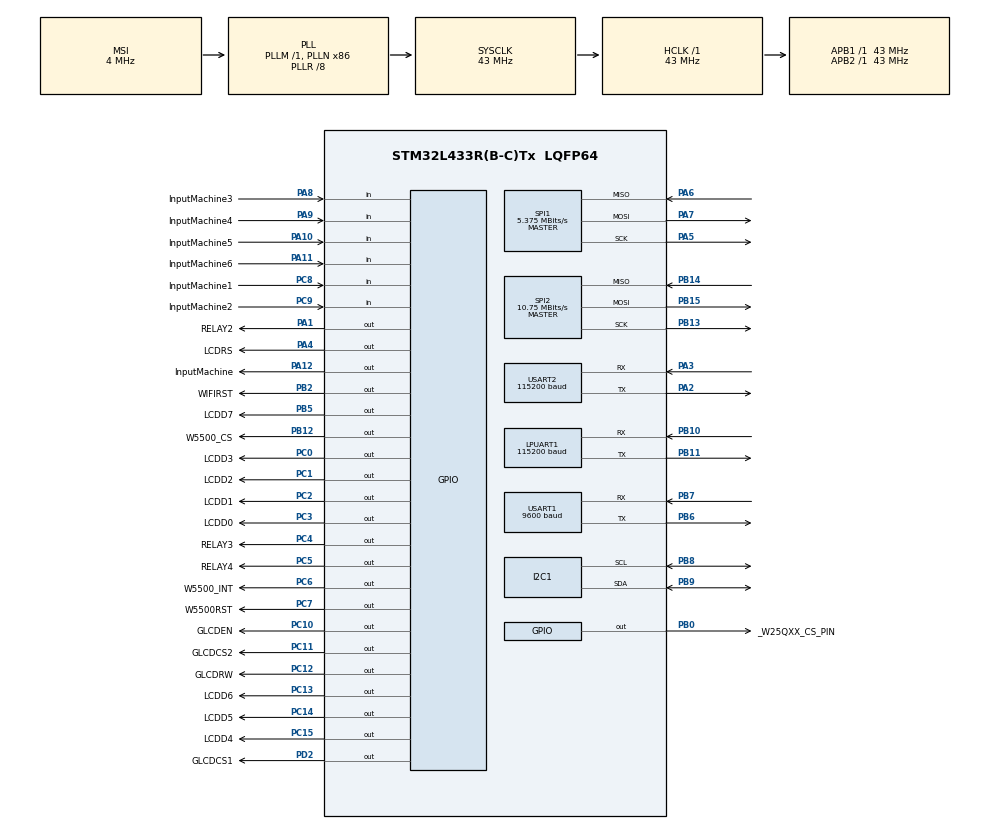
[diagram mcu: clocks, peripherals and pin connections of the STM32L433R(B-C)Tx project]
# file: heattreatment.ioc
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I2C1.Timing=0x00A0A7FD
LPUART1.BaudRate=115200
LPUART1.WordLength=UART_WORDLENGTH_8B
Mcu.Family=STM32L4
Mcu.Name=STM32L433R(B-C)Tx
Mcu.Package=LQFP64
NVIC.LPUART1_IRQn=true\:0\:0\:false\:false\:true\:true\:true\:true
NVIC.PriorityGroup=NVIC_PRIORITYGROUP_4
NVIC.TIM6_DAC_IRQn=true\:0\:0\:false\:false\:true\:true\:true\:true
NVIC.TIM7_IRQn=true\:0\:0\:false\:false\:true\:true\:true\:true
NVIC.USART1_IRQn=true\:0\:0\:false\:false\:true\:true\:true\:true
NVIC.USART2_IRQn=true\:0\:0\:false\:false\:true\:true\:true\:true
PA1.GPIO_Label=RELAY2
PA1.Signal=GPIO_Output
PA10.GPIO_Label=InputMachine5
PA10.Signal=GPIO_Input
PA11.GPIO_Label=InputMachine6
PA11.Signal=GPIO_Input
PA12.GPIO_Label=InputMachine
PA12.PinState=GPIO_PIN_SET
PA12.Signal=GPIO_Output
PA2.Mode=Asynchronous
PA2.Signal=USART2_TX
PA3.Mode=Asynchronous
PA3.Signal=USART2_RX
PA4.GPIO_Label=LCDRS
PA4.GPIO_PuPd=GPIO_PULLUP
PA4.Signal=GPIO_Output
PA5.Mode=Full_Duplex_Master
PA5.Signal=SPI1_SCK
PA6.Mode=Full_Duplex_Master
PA6.Signal=SPI1_MISO
PA7.Mode=Full_Duplex_Master
PA7.Signal=SPI1_MOSI
PA8.GPIO_Label=InputMachine3
PA8.Signal=GPIO_Input
PA9.GPIO_Label=InputMachine4
PA9.Signal=GPIO_Input
PB0.GPIO_Label=_W25QXX_CS_PIN
PB0.Signal=GPIO_Output
PB10.Mode=Asynchronous
PB10.Signal=LPUART1_RX
PB11.Mode=Asynchronous
PB11.Signal=LPUART1_TX
PB12.GPIO_Label=W5500_CS
PB12.GPIO_Speed=GPIO_SPEED_FREQ_HIGH
PB12.PinState=GPIO_PIN_SET
PB12.Signal=GPIO_Output
PB13.Mode=Full_Duplex_Master
PB13.Signal=SPI2_SCK
PB14.Mode=Full_Duplex_Master
PB14.Signal=SPI2_MISO
PB15.Mode=Full_Duplex_Master
PB15.Signal=SPI2_MOSI
PB2.GPIO_Label=WIFIRST
PB2.Signal=GPIO_Output
PB5.GPIO_Label=LCDD7
PB5.Signal=GPIO_Output
PB6.Mode=Asynchronous
PB6.Signal=USART1_TX
PB7.Mode=Asynchronous
PB7.Signal=USART1_RX
PB8.Mode=I2C
PB8.Signal=I2C1_SCL
PB9.Mode=I2C
PB9.Signal=I2C1_SDA
PC0.GPIO_Label=LCDD3
PC0.GPIO_PuPd=GPIO_NOPULL
PC0.Signal=GPIO_Output
PC1.GPIO_Label=LCDD2
PC1.GPIO_PuPd=GPIO_NOPULL
PC1.Signal=GPIO_Output
PC10.GPIO_Label=GLCDEN
PC10.GPIO_PuPd=GPIO_PULLUP
PC10.Signal=GPIO_Output
PC11.GPIO_Label=GLCDCS2
PC11.GPIO_PuPd=GPIO_PULLUP
PC11.Signal=GPIO_Output
PC12.GPIO_Label=GLCDRW
PC12.GPIO_PuPd=GPIO_PULLUP
PC12.Signal=GPIO_Output
PC13.GPIO_Label=LCDD6
PC13.GPIO_PuPd=GPIO_NOPULL
PC13.Signal=GPIO_Output
PC14-OSC32_IN\ (PC14).GPIO_Label=LCDD5
PC14-OSC32_IN\ (PC14).GPIO_PuPd=GPIO_NOPULL
PC14-OSC32_IN\ (PC14).Signal=GPIO_Output
PC15-OSC32_OUT\ (PC15).GPIO_Label=LCDD4
PC15-OSC32_OUT\ (PC15).GPIO_PuPd=GPIO_NOPULL
PC15-OSC32_OUT\ (PC15).Signal=GPIO_Output
PC2.GPIO_Label=LCDD1
PC2.GPIO_PuPd=GPIO_NOPULL
PC2.Signal=GPIO_Output
PC3.GPIO_Label=LCDD0
PC3.GPIO_PuPd=GPIO_NOPULL
PC3.Signal=GPIO_Output
PC4.GPIO_Label=RELAY3
PC4.Signal=GPIO_Output
PC5.GPIO_Label=RELAY4
PC5.Signal=GPIO_Output
PC6.GPIO_Label=W5500_INT
PC6.Signal=GPIO_Output
PC7.GPIO_Label=W5500RST
PC7.PinState=GPIO_PIN_SET
PC7.Signal=GPIO_Output
PC8.GPIO_Label=InputMachine1
PC8.Signal=GPIO_Input
PC9.GPIO_Label=InputMachine2
PC9.Signal=GPIO_Input
PD2.GPIO_Label=GLCDCS1
PD2.GPIO_PuPd=GPIO_PULLUP
PD2.Signal=GPIO_Output
ProjectManager.HeapSize=0x200
ProjectManager.StackSize=0x400
ProjectManager.TargetToolchain=STM32CubeIDE
RCC.AHBFreq_Value=43000000
RCC.APB1Freq_Value=43000000
RCC.APB1TimFreq_Value=43000000
RCC.APB2Freq_Value=43000000
RCC.APB2TimFreq_Value=43000000
RCC.CortexFreq_Value=43000000
RCC.HCLKFreq_Value=43000000
RCC.HSE_VALUE=8000000
RCC.HSI48_VALUE=48000000
RCC.HSI_VALUE=16000000
RCC.LSE_VALUE=32768
RCC.MSI_VALUE=4000000
RCC.PLLN=86
RCC.PLLR=RCC_PLLR_DIV8
RCC.SYSCLKFreq_VALUE=43000000
RCC.SYSCLKSource=RCC_SYSCLKSOURCE_PLLCLK
RCC.VCOOutputFreq_Value=344000000
SPI1.BaudRatePrescaler=SPI_BAUDRATEPRESCALER_8
SPI1.CalculateBaudRate=5.375 MBits/s
SPI1.DataSize=SPI_DATASIZE_8BIT
SPI1.Direction=SPI_DIRECTION_2LINES
SPI1.Mode=SPI_MODE_MASTER
SPI1.VirtualType=VM_MASTER
SPI2.BaudRatePrescaler=SPI_BAUDRATEPRESCALER_4
SPI2.CalculateBaudRate=10.75 MBits/s
SPI2.DataSize=SPI_DATASIZE_8BIT
SPI2.Direction=SPI_DIRECTION_2LINES
SPI2.Mode=SPI_MODE_MASTER
SPI2.VirtualType=VM_MASTER
TIM6.Period=100
TIM6.Prescaler=43000-1
TIM7.Period=1000
TIM7.Prescaler=43000-1
USART1.BaudRate=9600
USART1.VirtualMode-Asynchronous=VM_ASYNC
USART2.BaudRate=115200
USART2.VirtualMode-Asynchronous=VM_ASYNC
VP_TIM1_VS_ClockSourceINT.Mode=Internal
VP_TIM6_VS_ClockSourceINT.Mode=Enable_Timer
VP_TIM7_VS_ClockSourceINT.Mode=Enable_Timer
board=custom

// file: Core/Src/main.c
/* USER CODE BEGIN Header */
/**
  ******************************************************************************
  * @file           : main.c
  * @brief          : Main program body
  ******************************************************************************
  * @attention
  *
  * Copyright (c) 2022 STMicroelectronics.
  * All rights reserved.
  *
  * This software is licensed under terms that can be found in the LICENSE file
  * in the root directory of this software component.
  * If no LICENSE file comes with this software, it is provided AS-IS.
  *
  ******************************************************************************
  */
/* USER CODE END Header */
#include "main.h"

/* USER CODE BEGIN Includes */
#include "w5500_spi.h"
#include "w25qxx.h"
#include "ds1307.h"
/* USER CODE END Includes */

I2C_HandleTypeDef hi2c1;

UART_HandleTypeDef hlpuart1;
UART_HandleTypeDef huart1;
UART_HandleTypeDef huart2;

SPI_HandleTypeDef hspi1;
SPI_HandleTypeDef hspi2;

TIM_HandleTypeDef htim1;
TIM_HandleTypeDef htim6;
TIM_HandleTypeDef htim7;

/* USER CODE BEGIN PV */

uint8_t tmpstr[6];
uint8_t test_aa;
uint8_t tmp;
/* USER CODE END PV */

void SystemClock_Config(void);
static void MX_GPIO_Init(void);
static void MX_USART2_UART_Init(void);
static void MX_I2C1_Init(void);
static void MX_USART1_UART_Init(void);
static void MX_TIM6_Init(void);
static void MX_SPI2_Init(void);
static void MX_TIM1_Init(void);
static void MX_LPUART1_UART_Init(void);
static void MX_SPI1_Init(void);
static void MX_TIM7_Init(void);

/* USER CODE BEGIN 0 */
extern void displayon(void);
extern void setstartline(unsigned char z);
extern void clrlcd();
extern void lcdputs1(unsigned char y,unsigned char x,unsigned char *str);
unsigned char data[250];
unsigned int i;
unsigned char Txcomplete;
uint8_t rxTempBuff[5];
uint8_t check_w,check_r;
uint8_t testvariable[8]={1,2,3,4,5,6,7,8};
uint8_t testvariable1[8];

extern uint8_t u8rxbuf[16];
extern uint8_t u8rxdwinbuf[3];

/* USER CODE END 0 */

int main(void)
{

  /* MCU Configuration--------------------------------------------------------*/

  /* Reset of all peripherals, Initializes the Flash interface and the Systick. */
  HAL_Init();

  /* Configure the system clock */
  SystemClock_Config();

  /* Initialize all configured peripherals */
  MX_GPIO_Init();
  MX_USART2_UART_Init();
  MX_I2C1_Init();
  MX_USART1_UART_Init();
  MX_TIM6_Init();
  MX_SPI2_Init();
  MX_TIM1_Init();
  MX_LPUART1_UART_Init();
  MX_SPI1_Init();
  MX_TIM7_Init();
  /* USER CODE BEGIN 2 */
  HAL_TIM_Base_Start_IT(&htim6);
  HAL_TIM_Base_Start_IT(&htim7);
  HAL_TIM_Base_Start(&htim1);
  /* USER CODE END 2 */

  /* Infinite loop */
  /* USER CODE BEGIN WHILE */
//  displayon();
//  setstartline(0);
//  clrlcd();
//  lcdputs1(0,1,arg0);
//  for(i=0;i<=250;i++)
//  {
//	  data[i]=i;
//  }

  HAL_GPIO_WritePin(GPIOA, GPIO_PIN_12, GPIO_PIN_RESET);
  HAL_Delay(2);
  HAL_GPIO_WritePin(GPIOA, GPIO_PIN_12, GPIO_PIN_SET);
/*Ethernet Init
  wiz5500Init();*/

  W25qxx_Init();
  //rtc_set_time(13,14,30);
  //rtc_set_date(2,20,2,23);
  HAL_UART_Receive_IT(&huart1,u8rxbuf,1);
  HAL_UART_Receive_IT(&huart2,u8rxdwinbuf,1);
  HAL_UART_Receive_IT(&hlpuart1,rxTempBuff,1);
  while (1)
  {
	  cppMain();
//	  HAL_Delay(500);
//	  HAL_GPIO_TogglePin(GPIOA, RELAY2_Pin);
//	  if(Txcomplete)
//	  {
//		  Txcomplete=0;
//		  HAL_UART_Transmit_IT(&huart1,data,sizeof(data));
//	  }

    /* USER CODE END WHILE */

  }
}

void SystemClock_Config(void)
{
  RCC_OscInitTypeDef RCC_OscInitStruct = {0};
  RCC_ClkInitTypeDef RCC_ClkInitStruct = {0};

  /** Configure the main internal regulator output voltage
  */
  if (HAL_PWREx_ControlVoltageScaling(PWR_REGULATOR_VOLTAGE_SCALE1) != HAL_OK)
  {
    Error_Handler();
  }

  /** Initializes the RCC Oscillators according to the specified parameters
  * in the RCC_OscInitTypeDef structure.
  */
  RCC_OscInitStruct.OscillatorType = RCC_OSCILLATORTYPE_MSI;
  RCC_OscInitStruct.MSIState = RCC_MSI_ON;
  RCC_OscInitStruct.MSICalibrationValue = 0;
  RCC_OscInitStruct.MSIClockRange = RCC_MSIRANGE_6;
  RCC_OscInitStruct.PLL.PLLState = RCC_PLL_ON;
  RCC_OscInitStruct.PLL.PLLSource = RCC_PLLSOURCE_MSI;
  RCC_OscInitStruct.PLL.PLLM = 1;
  RCC_OscInitStruct.PLL.PLLN = 86;
  RCC_OscInitStruct.PLL.PLLP = RCC_PLLP_DIV7;
  RCC_OscInitStruct.PLL.PLLQ = RCC_PLLQ_DIV2;
  RCC_OscInitStruct.PLL.PLLR = RCC_PLLR_DIV8;
  if (HAL_RCC_OscConfig(&RCC_OscInitStruct) != HAL_OK)
  {
    Error_Handler();
  }

  /** Initializes the CPU, AHB and APB buses clocks
  */
  RCC_ClkInitStruct.ClockType = RCC_CLOCKTYPE_HCLK|RCC_CLOCKTYPE_SYSCLK
                              |RCC_CLOCKTYPE_PCLK1|RCC_CLOCKTYPE_PCLK2;
  RCC_ClkInitStruct.SYSCLKSource = RCC_SYSCLKSOURCE_PLLCLK;
  RCC_ClkInitStruct.AHBCLKDivider = RCC_SYSCLK_DIV1;
  RCC_ClkInitStruct.APB1CLKDivider = RCC_HCLK_DIV1;
  RCC_ClkInitStruct.APB2CLKDivider = RCC_HCLK_DIV1;

  if (HAL_RCC_ClockConfig(&RCC_ClkInitStruct, FLASH_LATENCY_2) != HAL_OK)
  {
    Error_Handler();
  }
}

static void MX_I2C1_Init(void)
{

  hi2c1.Instance = I2C1;
  hi2c1.Init.Timing = 0x00A0A7FD;
  hi2c1.Init.OwnAddress1 = 0;
  hi2c1.Init.AddressingMode = I2C_ADDRESSINGMODE_7BIT;
  hi2c1.Init.DualAddressMode = I2C_DUALADDRESS_DISABLE;
  hi2c1.Init.OwnAddress2 = 0;
  hi2c1.Init.OwnAddress2Masks = I2C_OA2_NOMASK;
  hi2c1.Init.GeneralCallMode = I2C_GENERALCALL_DISABLE;
  hi2c1.Init.NoStretchMode = I2C_NOSTRETCH_DISABLE;
  if (HAL_I2C_Init(&hi2c1) != HAL_OK)
  {
    Error_Handler();
  }

  /** Configure Analogue filter
  */
  if (HAL_I2CEx_ConfigAnalogFilter(&hi2c1, I2C_ANALOGFILTER_ENABLE) != HAL_OK)
  {
    Error_Handler();
  }

  /** Configure Digital filter
  */
  if (HAL_I2CEx_ConfigDigitalFilter(&hi2c1, 0) != HAL_OK)
  {
    Error_Handler();
  }

}

static void MX_LPUART1_UART_Init(void)
{

  hlpuart1.Instance = LPUART1;
  hlpuart1.Init.BaudRate = 115200;
  hlpuart1.Init.WordLength = UART_WORDLENGTH_8B;
  hlpuart1.Init.StopBits = UART_STOPBITS_1;
  hlpuart1.Init.Parity = UART_PARITY_NONE;
  hlpuart1.Init.Mode = UART_MODE_TX_RX;
  hlpuart1.Init.HwFlowCtl = UART_HWCONTROL_NONE;
  hlpuart1.Init.OneBitSampling = UART_ONE_BIT_SAMPLE_DISABLE;
  hlpuart1.AdvancedInit.AdvFeatureInit = UART_ADVFEATURE_NO_INIT;
  if (HAL_UART_Init(&hlpuart1) != HAL_OK)
  {
    Error_Handler();
  }

}

static void MX_USART1_UART_Init(void)
{

  huart1.Instance = USART1;
  huart1.Init.BaudRate = 9600;
  huart1.Init.WordLength = UART_WORDLENGTH_8B;
  huart1.Init.StopBits = UART_STOPBITS_1;
  huart1.Init.Parity = UART_PARITY_NONE;
  huart1.Init.Mode = UART_MODE_TX_RX;
  huart1.Init.HwFlowCtl = UART_HWCONTROL_NONE;
  huart1.Init.OverSampling = UART_OVERSAMPLING_16;
  huart1.Init.OneBitSampling = UART_ONE_BIT_SAMPLE_DISABLE;
  huart1.AdvancedInit.AdvFeatureInit = UART_ADVFEATURE_NO_INIT;
  if (HAL_UART_Init(&huart1) != HAL_OK)
  {
    Error_Handler();
  }

}

static void MX_USART2_UART_Init(void)
{

  huart2.Instance = USART2;
  huart2.Init.BaudRate = 115200;
  huart2.Init.WordLength = UART_WORDLENGTH_8B;
  huart2.Init.StopBits = UART_STOPBITS_1;
  huart2.Init.Parity = UART_PARITY_NONE;
  huart2.Init.Mode = UART_MODE_TX_RX;
  huart2.Init.HwFlowCtl = UART_HWCONTROL_NONE;
  huart2.Init.OverSampling = UART_OVERSAMPLING_16;
  huart2.Init.OneBitSampling = UART_ONE_BIT_SAMPLE_DISABLE;
  huart2.AdvancedInit.AdvFeatureInit = UART_ADVFEATURE_NO_INIT;
  if (HAL_UART_Init(&huart2) != HAL_OK)
  {
    Error_Handler();
  }

}

static void MX_SPI1_Init(void)
{

  /* SPI1 parameter configuration*/
  hspi1.Instance = SPI1;
  hspi1.Init.Mode = SPI_MODE_MASTER;
  hspi1.Init.Direction = SPI_DIRECTION_2LINES;
  hspi1.Init.DataSize = SPI_DATASIZE_8BIT;
  hspi1.Init.CLKPolarity = SPI_POLARITY_LOW;
  hspi1.Init.CLKPhase = SPI_PHASE_1EDGE;
  hspi1.Init.NSS = SPI_NSS_SOFT;
  hspi1.Init.BaudRatePrescaler = SPI_BAUDRATEPRESCALER_8;
  hspi1.Init.FirstBit = SPI_FIRSTBIT_MSB;
  hspi1.Init.TIMode = SPI_TIMODE_DISABLE;
  hspi1.Init.CRCCalculation = SPI_CRCCALCULATION_DISABLE;
  hspi1.Init.CRCPolynomial = 7;
  hspi1.Init.CRCLength = SPI_CRC_LENGTH_DATASIZE;
  hspi1.Init.NSSPMode = SPI_NSS_PULSE_ENABLE;
  if (HAL_SPI_Init(&hspi1) != HAL_OK)
  {
    Error_Handler();
  }
  /* USER CODE BEGIN SPI1_Init 2 */
  __HAL_SPI_ENABLE(&hspi2);
  /* USER CODE END SPI1_Init 2 */

}

static void MX_SPI2_Init(void)
{

  /* SPI2 parameter configuration*/
  hspi2.Instance = SPI2;
  hspi2.Init.Mode = SPI_MODE_MASTER;
  hspi2.Init.Direction = SPI_DIRECTION_2LINES;
  hspi2.Init.DataSize = SPI_DATASIZE_8BIT;
  hspi2.Init.CLKPolarity = SPI_POLARITY_LOW;
  hspi2.Init.CLKPhase = SPI_PHASE_1EDGE;
  hspi2.Init.NSS = SPI_NSS_SOFT;
  hspi2.Init.BaudRatePrescaler = SPI_BAUDRATEPRESCALER_4;
  hspi2.Init.FirstBit = SPI_FIRSTBIT_MSB;
  hspi2.Init.TIMode = SPI_TIMODE_DISABLE;
  hspi2.Init.CRCCalculation = SPI_CRCCALCULATION_DISABLE;
  hspi2.Init.CRCPolynomial = 7;
  hspi2.Init.CRCLength = SPI_CRC_LENGTH_DATASIZE;
  hspi2.Init.NSSPMode = SPI_NSS_PULSE_ENABLE;
  if (HAL_SPI_Init(&hspi2) != HAL_OK)
  {
    Error_Handler();
  }
  /* USER CODE BEGIN SPI2_Init 2 */
  __HAL_SPI_ENABLE(&hspi1);
  /* USER CODE END SPI2_Init 2 */

}

static void MX_TIM1_Init(void)
{

  TIM_ClockConfigTypeDef sClockSourceConfig = {0};
  TIM_MasterConfigTypeDef sMasterConfig = {0};

  htim1.Instance = TIM1;
  htim1.Init.Prescaler = 0;
  htim1.Init.CounterMode = TIM_COUNTERMODE_UP;
  htim1.Init.Period = 65535;
  htim1.Init.ClockDivision = TIM_CLOCKDIVISION_DIV1;
  htim1.Init.RepetitionCounter = 0;
  htim1.Init.AutoReloadPreload = TIM_AUTORELOAD_PRELOAD_DISABLE;
  if (HAL_TIM_Base_Init(&htim1) != HAL_OK)
  {
    Error_Handler();
  }
  sClockSourceConfig.ClockSource = TIM_CLOCKSOURCE_INTERNAL;
  if (HAL_TIM_ConfigClockSource(&htim1, &sClockSourceConfig) != HAL_OK)
  {
    Error_Handler();
  }
  sMasterConfig.MasterOutputTrigger = TIM_TRGO_RESET;
  sMasterConfig.MasterOutputTrigger2 = TIM_TRGO2_RESET;
  sMasterConfig.MasterSlaveMode = TIM_MASTERSLAVEMODE_DISABLE;
  if (HAL_TIMEx_MasterConfigSynchronization(&htim1, &sMasterConfig) != HAL_OK)
  {
    Error_Handler();
  }

}

static void MX_TIM6_Init(void)
{

  TIM_MasterConfigTypeDef sMasterConfig = {0};

  htim6.Instance = TIM6;
  htim6.Init.Prescaler = 43000-1;
  htim6.Init.CounterMode = TIM_COUNTERMODE_UP;
  htim6.Init.Period = 100;
  htim6.Init.AutoReloadPreload = TIM_AUTORELOAD_PRELOAD_DISABLE;
  if (HAL_TIM_Base_Init(&htim6) != HAL_OK)
  {
    Error_Handler();
  }
  sMasterConfig.MasterOutputTrigger = TIM_TRGO_RESET;
  sMasterConfig.MasterSlaveMode = TIM_MASTERSLAVEMODE_DISABLE;
  if (HAL_TIMEx_MasterConfigSynchronization(&htim6, &sMasterConfig) != HAL_OK)
  {
    Error_Handler();
  }

}

static void MX_TIM7_Init(void)
{

  TIM_MasterConfigTypeDef sMasterConfig = {0};

  htim7.Instance = TIM7;
  htim7.Init.Prescaler = 43000-1;
  htim7.Init.CounterMode = TIM_COUNTERMODE_UP;
  htim7.Init.Period = 1000;
  htim7.Init.AutoReloadPreload = TIM_AUTORELOAD_PRELOAD_DISABLE;
  if (HAL_TIM_Base_Init(&htim7) != HAL_OK)
  {
    Error_Handler();
  }
  sMasterConfig.MasterOutputTrigger = TIM_TRGO_RESET;
  sMasterConfig.MasterSlaveMode = TIM_MASTERSLAVEMODE_DISABLE;
  if (HAL_TIMEx_MasterConfigSynchronization(&htim7, &sMasterConfig) != HAL_OK)
  {
    Error_Handler();
  }

}

static void MX_GPIO_Init(void)
{
  GPIO_InitTypeDef GPIO_InitStruct = {0};

  /* GPIO Ports Clock Enable */
  __HAL_RCC_GPIOC_CLK_ENABLE();
  __HAL_RCC_GPIOA_CLK_ENABLE();
  __HAL_RCC_GPIOB_CLK_ENABLE();
  __HAL_RCC_GPIOD_CLK_ENABLE();

  /*Configure GPIO pin Output Level */
  HAL_GPIO_WritePin(GPIOC, LCDD6_Pin|LCDD5_Pin|LCDD4_Pin|LCDD3_Pin
                          |LCDD2_Pin|LCDD1_Pin|LCDD0_Pin|RELAY3_Pin
                          |RELAY4_Pin|W5500_INT_Pin|GLCDEN_Pin|GLCDCS2_Pin
                          |GLCDRW_Pin, GPIO_PIN_RESET);

  /*Configure GPIO pin Output Level */
  HAL_GPIO_WritePin(GPIOA, RELAY2_Pin|LCDRS_Pin, GPIO_PIN_RESET);

  /*Configure GPIO pin Output Level */
  HAL_GPIO_WritePin(GPIOB, _W25QXX_CS_PIN_Pin|WIFIRST_Pin|LCDD7_Pin, GPIO_PIN_RESET);

  /*Configure GPIO pin Output Level */
  HAL_GPIO_WritePin(W5500_CS_GPIO_Port, W5500_CS_Pin, GPIO_PIN_SET);

  /*Configure GPIO pin Output Level */
  HAL_GPIO_WritePin(W5500RST_GPIO_Port, W5500RST_Pin, GPIO_PIN_SET);

  /*Configure GPIO pin Output Level */
  HAL_GPIO_WritePin(InputMachine_GPIO_Port, InputMachine_Pin, GPIO_PIN_SET);

  /*Configure GPIO pin Output Level */
  HAL_GPIO_WritePin(GLCDCS1_GPIO_Port, GLCDCS1_Pin, GPIO_PIN_RESET);

  /*Configure GPIO pins : LCDD6_Pin LCDD5_Pin LCDD4_Pin LCDD3_Pin
                           LCDD2_Pin LCDD1_Pin LCDD0_Pin RELAY3_Pin
                           RELAY4_Pin W5500_INT_Pin W5500RST_Pin */
  GPIO_InitStruct.Pin = LCDD6_Pin|LCDD5_Pin|LCDD4_Pin|LCDD3_Pin
                          |LCDD2_Pin|LCDD1_Pin|LCDD0_Pin|RELAY3_Pin
                          |RELAY4_Pin|W5500_INT_Pin|W5500RST_Pin;
  GPIO_InitStruct.Mode = GPIO_MODE_OUTPUT_PP;
  GPIO_InitStruct.Pull = GPIO_NOPULL;
  GPIO_InitStruct.Speed = GPIO_SPEED_FREQ_LOW;
  HAL_GPIO_Init(GPIOC, &GPIO_InitStruct);

  /*Configure GPIO pins : RELAY2_Pin InputMachine_Pin */
  GPIO_InitStruct.Pin = RELAY2_Pin|InputMachine_Pin;
  GPIO_InitStruct.Mode = GPIO_MODE_OUTPUT_PP;
  GPIO_InitStruct.Pull = GPIO_NOPULL;
  GPIO_InitStruct.Speed = GPIO_SPEED_FREQ_LOW;
  HAL_GPIO_Init(GPIOA, &GPIO_InitStruct);

  /*Configure GPIO pin : LCDRS_Pin */
  GPIO_InitStruct.Pin = LCDRS_Pin;
  GPIO_InitStruct.Mode = GPIO_MODE_OUTPUT_PP;
  GPIO_InitStruct.Pull = GPIO_PULLUP;
  GPIO_InitStruct.Speed = GPIO_SPEED_FREQ_LOW;
  HAL_GPIO_Init(LCDRS_GPIO_Port, &GPIO_InitStruct);

  /*Configure GPIO pins : _W25QXX_CS_PIN_Pin WIFIRST_Pin LCDD7_Pin */
  GPIO_InitStruct.Pin = _W25QXX_CS_PIN_Pin|WIFIRST_Pin|LCDD7_Pin;
  GPIO_InitStruct.Mode = GPIO_MODE_OUTPUT_PP;
  GPIO_InitStruct.Pull = GPIO_NOPULL;
  GPIO_InitStruct.Speed = GPIO_SPEED_FREQ_LOW;
  HAL_GPIO_Init(GPIOB, &GPIO_InitStruct);

  /*Configure GPIO pin : W5500_CS_Pin */
  GPIO_InitStruct.Pin = W5500_CS_Pin;
  GPIO_InitStruct.Mode = GPIO_MODE_OUTPUT_PP;
  GPIO_InitStruct.Pull = GPIO_NOPULL;
  GPIO_InitStruct.Speed = GPIO_SPEED_FREQ_HIGH;
  HAL_GPIO_Init(W5500_CS_GPIO_Port, &GPIO_InitStruct);

  /*Configure GPIO pins : InputMachine1_Pin InputMachine2_Pin */
  GPIO_InitStruct.Pin = InputMachine1_Pin|InputMachine2_Pin;
  GPIO_InitStruct.Mode = GPIO_MODE_INPUT;
  GPIO_InitStruct.Pull = GPIO_NOPULL;
  HAL_GPIO_Init(GPIOC, &GPIO_InitStruct);

  /*Configure GPIO pins : InputMachine3_Pin InputMachine4_Pin InputMachine5_Pin InputMachine6_Pin */
  GPIO_InitStruct.Pin = InputMachine3_Pin|InputMachine4_Pin|InputMachine5_Pin|InputMachine6_Pin;
  GPIO_InitStruct.Mode = GPIO_MODE_INPUT;
  GPIO_InitStruct.Pull = GPIO_NOPULL;
  HAL_GPIO_Init(GPIOA, &GPIO_InitStruct);

  /*Configure GPIO pins : GLCDEN_Pin GLCDCS2_Pin GLCDRW_Pin */
  GPIO_InitStruct.Pin = GLCDEN_Pin|GLCDCS2_Pin|GLCDRW_Pin;
  GPIO_InitStruct.Mode = GPIO_MODE_OUTPUT_PP;
  GPIO_InitStruct.Pull = GPIO_PULLUP;
  GPIO_InitStruct.Speed = GPIO_SPEED_FREQ_LOW;
  HAL_GPIO_Init(GPIOC, &GPIO_InitStruct);

  /*Configure GPIO pin : GLCDCS1_Pin */
  GPIO_InitStruct.Pin = GLCDCS1_Pin;
  GPIO_InitStruct.Mode = GPIO_MODE_OUTPUT_PP;
  GPIO_InitStruct.Pull = GPIO_PULLUP;
  GPIO_InitStruct.Speed = GPIO_SPEED_FREQ_LOW;
  HAL_GPIO_Init(GLCDCS1_GPIO_Port, &GPIO_InitStruct);

}

void Error_Handler(void)
{
  __disable_irq();
  while (1)
  {
  }
}
